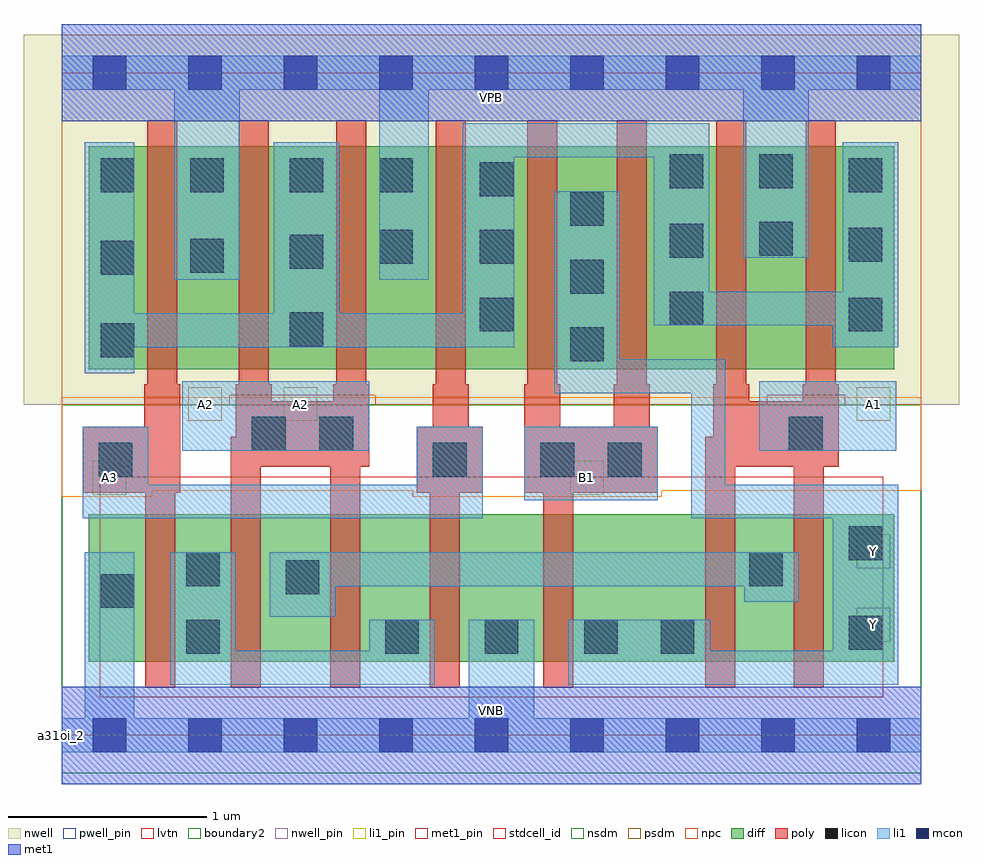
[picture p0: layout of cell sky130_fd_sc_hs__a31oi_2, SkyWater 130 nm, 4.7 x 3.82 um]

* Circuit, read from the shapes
.subckt sky130_fd_sc_hs__a31oi_2 A1 A2 A3 B1 VGND VNB VPB VPWR Y
XM1 n1 A3 VGND VNB sky130_fd_pr__nfet_01v8_lvt w=0.74 l=0.15 m=2
XM2 n2 A2 n1 VNB sky130_fd_pr__nfet_01v8_lvt w=0.74 l=0.15 m=2
XM3 Y B1 VGND VNB sky130_fd_pr__nfet_01v8_lvt w=0.74 l=0.15
XM4 n2 A1 Y VNB sky130_fd_pr__nfet_01v8_lvt w=0.74 l=0.15 m=2
XM5 VPWR A3 n3 VPB sky130_fd_pr__pfet_01v8 w=1.12 l=0.15 m=2
XM6 n3 A2 VPWR VPB sky130_fd_pr__pfet_01v8 w=1.12 l=0.15 m=2
XM7 Y B1 n3 VPB sky130_fd_pr__pfet_01v8 w=1.12 l=0.15 m=2
XM8 VPWR A1 n3 VPB sky130_fd_pr__pfet_01v8 w=1.12 l=0.15 m=2
.ends

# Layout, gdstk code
import gdstk
lib = gdstk.Library(unit=1e-6, precision=1e-09)
def R(c, l, rs):  # rectangles x0, y0, x1, y1
    for r in rs: c.add(gdstk.rectangle(r[:2], r[2:], *l))
def A(c, l, x, y, w, h, nx, ny, dx, dy):  # array of equal rectangles
    R(c, l, [(x+i*dx, y+j*dy, x+i*dx+w, y+j*dy+h) for i in range(nx) for j in range(ny)])
def P(c, l, *ps):  # polygons
    for p in ps: c.add(gdstk.Polygon(p, *l))
nwell_pin = (64, 16)
nwell = (64, 20)
diff = (65, 20)
poly = (66, 20)
licon = (66, 44)
li1_pin = (67, 16)
li1 = (67, 20)
mcon = (67, 44)
met1_pin = (68, 16)
met1 = (68, 20)
stdcell_id = (81, 4)
nsdm = (93, 44)
psdm = (94, 20)
npc = (95, 20)
pwell_pin = (122, 16)
lvtn = (125, 44)
boundary2 = (236, 0)

sky130_fd_sc_hs__a31oi_2 = lib.new_cell('sky130_fd_sc_hs__a31oi_2')
R(sky130_fd_sc_hs__a31oi_2, nwell_pin, [(0,3.085,4.32,3.33)])
R(sky130_fd_sc_hs__a31oi_2, nwell, [(-0.19,1.66,4.51,3.52)])
R(sky130_fd_sc_hs__a31oi_2, diff, [(0.135,0.37,4.185,1.11), (0.135,1.84,4.185,2.96)])
P(sky130_fd_sc_hs__a31oi_2, poly, [(3.905,1.765),(3.89,1.765),(3.89,3.09),(3.74,3.09),(3.74,1.765),(3.725,1.765),(3.725,1.68),(3.455,1.68),(3.455,1.765),(3.44,1.765),(3.44,3.09),(3.29,3.09),(3.29,1.765),(3.275,1.765),(3.275,1.5),(3.235,1.5),(3.235,0.24),(3.385,0.24),(3.385,1.35),(3.68,1.35),(3.68,0.24),(3.83,0.24),(3.83,1.35),(3.905,1.35)],
  [(2.995,1.55),(2.955,1.55),(2.955,1.765),(2.94,1.765),(2.94,3.09),(2.79,3.09),(2.79,1.765),(2.775,1.765),(2.775,1.55),(2.505,1.55),(2.505,1.765),(2.49,1.765),(2.49,3.09),(2.34,3.09),(2.34,1.765),(2.325,1.765),(2.325,1.22),(2.42,1.22),(2.42,0.24),(2.57,0.24),(2.57,1.22),(2.995,1.22)],
  [(2.115,1.55),(2.045,1.55),(2.045,1.765),(2.03,1.765),(2.03,3.09),(1.88,3.09),(1.88,1.765),(1.865,1.765),(1.865,1.55),(1.785,1.55),(1.785,1.22),(1.85,1.22),(1.85,0.24),(2,0.24),(2,1.22),(2.115,1.22)],
  [(1.545,1.765),(1.53,1.765),(1.53,3.09),(1.38,3.09),(1.38,1.765),(1.365,1.765),(1.365,1.68),(1.055,1.68),(1.055,1.765),(1.04,1.765),(1.04,3.09),(0.89,3.09),(0.89,1.765),(0.875,1.765),(0.875,1.5),(0.85,1.5),(0.85,0.24),(1,0.24),(1,1.35),(1.35,1.35),(1.35,0.24),(1.5,0.24),(1.5,1.35),(1.545,1.35)],
  [(0.595,1.765),(0.58,1.765),(0.58,3.09),(0.43,3.09),(0.43,1.765),(0.415,1.765),(0.415,1.55),(0.105,1.55),(0.105,1.22),(0.42,1.22),(0.42,0.24),(0.57,0.24),(0.57,1.22),(0.595,1.22)])
A(sky130_fd_sc_hs__a31oi_2, licon, 1.625, 0.41, 0.17, 0.17, 3, 1, 0.5, 0)
A(sky130_fd_sc_hs__a31oi_2, licon, 2.555, 1.88, 0.17, 0.17, 1, 3, 0, 0.34)
A(sky130_fd_sc_hs__a31oi_2, licon, 0.195, 1.9, 0.17, 0.17, 1, 3, 0, 0.415)
A(sky130_fd_sc_hs__a31oi_2, licon, 2.1, 2.03, 0.17, 0.17, 1, 3, 0, 0.34)
A(sky130_fd_sc_hs__a31oi_2, licon, 3.955, 2.03, 0.17, 0.17, 1, 3, 0, 0.35)
R(sky130_fd_sc_hs__a31oi_2, licon, [(0.625,0.41,0.795,0.58), (3.01,0.41,3.18,0.58), (3.955,0.43,4.125,0.6), (0.195,0.64,0.365,0.81), (1.125,0.71,1.295,0.88), (0.625,0.75,0.795,0.92), (3.455,0.75,3.625,0.92), (3.955,0.88,4.125,1.05), (0.185,1.3,0.355,1.47), (1.865,1.3,2.035,1.47), (2.405,1.3,2.575,1.47), (2.745,1.3,2.915,1.47), (0.955,1.43,1.125,1.6), (1.295,1.43,1.465,1.6), (3.655,1.43,3.825,1.6), (1.145,1.955,1.315,2.125), (3.055,2.06,3.225,2.23), (0.645,2.325,0.815,2.495), (1.145,2.345,1.315,2.515), (1.595,2.37,1.765,2.54), (3.055,2.4,3.225,2.57), (3.505,2.41,3.675,2.58), (0.645,2.73,0.815,2.9), (1.145,2.73,1.315,2.9), (1.595,2.73,1.765,2.9), (3.055,2.75,3.225,2.92), (3.505,2.75,3.675,2.92)])
R(sky130_fd_sc_hs__a31oi_2, li1_pin, [(3.995,0.47,4.165,0.64), (3.995,0.84,4.165,1.01), (0.155,1.21,0.325,1.38), (2.555,1.21,2.725,1.38), (0.635,1.58,0.805,1.75), (1.115,1.58,1.285,1.75), (3.995,1.58,4.165,1.75)])
R(sky130_fd_sc_hs__a31oi_2, li1, [(2.325,1.18,2.995,1.55), (0.605,1.43,1.545,1.78), (3.505,1.43,4.195,1.78)])
P(sky130_fd_sc_hs__a31oi_2, li1, [(0,-0.085),(0,0.085),(0.115,0.085),(0.115,0.92),(0.365,0.92),(0.365,0.085),(2.045,0.085),(2.045,0.58),(2.375,0.58),(2.375,0.085),(4.32,0.085),(4.32,-0.085)],
  [(0,3.245),(0,3.415),(4.32,3.415),(4.32,3.245),(3.755,3.245),(3.755,2.4),(3.425,2.4),(3.425,3.245),(1.845,3.245),(1.845,2.29),(1.595,2.29),(1.595,3.245),(0.895,3.245),(0.895,2.29),(0.565,2.29),(0.565,3.245)],
  [(0.105,1.09),(0.105,1.55),(0.435,1.55),(0.435,1.26),(1.785,1.26),(1.785,1.55),(2.115,1.55),(2.115,1.09)],
  [(3.875,0.425),(3.875,1.09),(3.165,1.09),(3.165,1.72),(2.475,1.72),(2.475,2.735),(2.805,2.735),(2.805,1.89),(3.335,1.89),(3.335,1.26),(4.205,1.26),(4.205,0.255),(2.545,0.255),(2.545,0.58),(3.26,0.58),(3.26,0.425)],
  [(0.365,2.12),(1.065,2.12),(1.065,2.98),(1.395,2.98),(1.395,2.12),(2.015,2.12),(2.015,3.075),(3.255,3.075),(3.255,2.23),(3.925,2.23),(3.925,2.98),(4.205,2.98),(4.205,1.95),(3.875,1.95),(3.875,2.06),(2.975,2.06),(2.975,2.905),(2.275,2.905),(2.275,1.95),(0.365,1.95),(0.365,1.82),(0.115,1.82),(0.115,2.98),(0.365,2.98)],
  [(0.545,0.255),(0.545,0.92),(0.875,0.92),(0.875,0.425),(1.545,0.425),(1.545,0.58),(1.875,0.58),(1.875,0.255)],
  [(3.43,0.67),(3.43,0.75),(1.375,0.75),(1.375,0.595),(1.045,0.595),(1.045,0.92),(3.705,0.92),(3.705,0.67)])
A(sky130_fd_sc_hs__a31oi_2, mcon, 0.155, -0.085, 0.17, 0.17, 9, 2, 0.48, 3.33)
R(sky130_fd_sc_hs__a31oi_2, met1_pin, [(0,0,4.32,0.245), (0,3.085,4.32,3.33)])
R(sky130_fd_sc_hs__a31oi_2, met1, [(0,-0.245,4.32,0.245), (0,3.085,4.32,3.575)])
R(sky130_fd_sc_hs__a31oi_2, stdcell_id, [(0,0,4.32,3.33)])
R(sky130_fd_sc_hs__a31oi_2, nsdm, [(0,-0.19,4.32,1.66)])
P(sky130_fd_sc_hs__a31oi_2, psdm, [(4.32,3.52),(0,3.52),(0,1.66),(0.845,1.66),(0.845,1.71),(1.575,1.71),(1.575,1.66),(3.545,1.66),(3.545,1.71),(3.935,1.71),(3.935,1.66),(4.32,1.66)])
P(sky130_fd_sc_hs__a31oi_2, npc, [(4.32,1.7),(0,1.7),(0,1.2),(0.455,1.2),(0.455,1.23),(1.765,1.23),(1.765,1.2),(3.015,1.2),(3.015,1.23),(4.32,1.23)])
R(sky130_fd_sc_hs__a31oi_2, pwell_pin, [(0,0,4.32,0.245)])
R(sky130_fd_sc_hs__a31oi_2, lvtn, [(0.19,0.19,4.13,1.3)])
R(sky130_fd_sc_hs__a31oi_2, boundary2, [(0,0,4.32,3.33)])
sky130_fd_sc_hs__a31oi_2.add(gdstk.Label('a31oi_2', (0,0), layer=83, texttype=44))
sky130_fd_sc_hs__a31oi_2.add(gdstk.Label('VNB', (2.16,0.123), layer=64, texttype=59))
sky130_fd_sc_hs__a31oi_2.add(gdstk.Label('VPB', (2.16,3.208), layer=64, texttype=5))
sky130_fd_sc_hs__a31oi_2.add(gdstk.Label('VPWR', (2.16,3.208), layer=68, texttype=5))
sky130_fd_sc_hs__a31oi_2.add(gdstk.Label('VGND', (2.16,0.123), layer=68, texttype=5))
sky130_fd_sc_hs__a31oi_2.add(gdstk.Label('A2', (0.72,1.665), layer=67, texttype=5))
sky130_fd_sc_hs__a31oi_2.add(gdstk.Label('A2', (1.2,1.665), layer=67, texttype=5))
sky130_fd_sc_hs__a31oi_2.add(gdstk.Label('A1', (4.08,1.665), layer=67, texttype=5))
sky130_fd_sc_hs__a31oi_2.add(gdstk.Label('A3', (0.24,1.295), layer=67, texttype=5))
sky130_fd_sc_hs__a31oi_2.add(gdstk.Label('Y', (4.08,0.555), layer=67, texttype=5))
sky130_fd_sc_hs__a31oi_2.add(gdstk.Label('Y', (4.08,0.925), layer=67, texttype=5))
sky130_fd_sc_hs__a31oi_2.add(gdstk.Label('B1', (2.64,1.295), layer=67, texttype=5))

lib.write_gds('sky130_fd_sc_hs__a31oi_2.gds')
